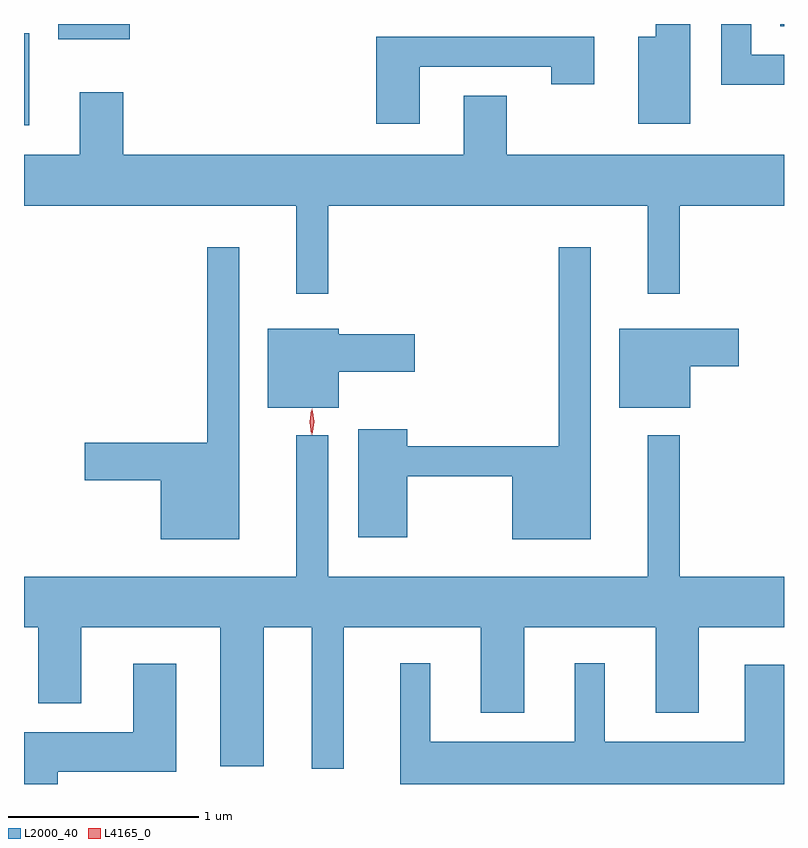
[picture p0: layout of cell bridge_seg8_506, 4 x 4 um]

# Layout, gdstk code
import gdstk
lib = gdstk.Library(unit=1e-6, precision=1e-09)
def R(c, l, rs):  # rectangles x0, y0, x1, y1
    for r in rs: c.add(gdstk.rectangle(r[:2], r[2:], *l))
def P(c, l, *ps):  # polygons
    for p in ps: c.add(gdstk.Polygon(p, *l))
L2000_40 = (2000, 40)
L4165_0 = (4165, 0)

bridge_seg8_506 = lib.new_cell('bridge_seg8_506')
R(bridge_seg8_506, L2000_40, [(260.457,1863.478,260.484,1863.964), (260.636,1863.931,261.014,1864.012), (264.436,1864.001,264.457,1864.012)])
P(bridge_seg8_506, L2000_40, [(263.964,1864.012),(263.781,1864.012),(263.781,1863.944),(263.691,1863.944),(263.691,1863.486),(263.964,1863.486)],
  [(264.457,1863.849),(264.284,1863.849),(264.284,1864.012),(264.126,1864.012),(264.126,1863.691),(264.457,1863.691)],
  [(262.539,1863.786),(263.231,1863.786),(263.231,1863.696),(263.459,1863.696),(263.459,1863.944),(262.311,1863.944),(262.311,1863.486),(262.539,1863.486)],
  [(262.059,1863.056),(263.741,1863.056),(263.741,1862.593),(263.909,1862.593),(263.909,1863.056),(264.457,1863.056),(264.457,1863.324),(262.999,1863.324),(262.999,1863.634),(262.771,1863.634),(262.771,1863.324),(260.979,1863.324),(260.979,1863.654),(260.751,1863.654),(260.751,1863.324),(260.457,1863.324),(260.457,1863.056),(261.891,1863.056),(261.891,1862.593),(262.059,1862.593)],
  [(263.439,1862.838),(263.271,1862.838),(263.271,1861.789),(262.474,1861.789),(262.474,1861.879),(262.216,1861.879),(262.216,1861.311),(262.474,1861.311),(262.474,1861.631),(263.026,1861.631),(263.026,1861.301),(263.439,1861.301)],
  [(261.589,1862.838),(261.421,1862.838),(261.421,1861.809),(260.776,1861.809),(260.776,1861.611),(261.176,1861.611),(261.176,1861.301),(261.589,1861.301)],
  [(262.114,1862.181),(262.514,1862.181),(262.514,1862.379),(262.114,1862.379),(262.114,1862.409),(261.741,1862.409),(261.741,1861.991),(262.114,1861.991)],
  [(263.964,1862.211),(264.219,1862.211),(264.219,1862.409),(263.591,1862.409),(263.591,1861.991),(263.964,1861.991)],
  [(261.891,1861.104),(260.457,1861.104),(260.457,1860.836),(260.531,1860.836),(260.531,1860.436),(260.759,1860.436),(260.759,1860.836),(261.491,1860.836),(261.491,1860.106),(261.719,1860.106),(261.719,1860.836),(261.971,1860.836),(261.971,1860.093),(262.139,1860.093),(262.139,1860.836),(262.861,1860.836),(262.861,1860.386),(263.089,1860.386),(263.089,1860.836),(263.781,1860.836),(263.781,1860.386),(264.009,1860.386),(264.009,1860.836),(264.457,1860.836),(264.457,1861.104),(263.909,1861.104),(263.909,1861.848),(263.741,1861.848),(263.741,1861.104),(262.059,1861.104),(262.059,1861.848),(261.891,1861.848)],
  [(264.457,1860.639),(264.251,1860.639),(264.251,1860.234),(263.514,1860.234),(263.514,1860.648),(263.356,1860.648),(263.356,1860.234),(262.594,1860.234),(262.594,1860.648),(262.436,1860.648),(262.436,1860.012),(264.457,1860.012)],
  [(260.634,1860.076),(261.259,1860.076),(261.259,1860.644),(261.031,1860.644),(261.031,1860.284),(260.457,1860.284),(260.457,1860.012),(260.634,1860.012)])
P(bridge_seg8_506, L4165_0, [(261.969,1861.853),(261.96,1861.917),(261.969,1861.981),(261.969,1861.981),(261.97,1861.981),(261.98,1861.917),(261.97,1861.853),(261.97,1861.853)],
  [(261.974,1861.85),(261.965,1861.918),(261.974,1861.986),(261.975,1861.986),(261.975,1861.986),(261.985,1861.918),(261.975,1861.85),(261.975,1861.85)])

lib.write_gds('bridge_seg8_506.gds')
